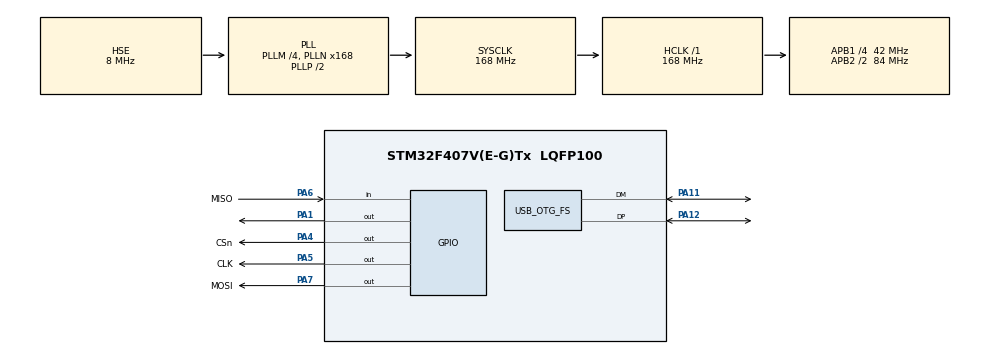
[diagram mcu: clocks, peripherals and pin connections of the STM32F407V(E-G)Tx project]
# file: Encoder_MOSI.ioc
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Mcu.Family=STM32F4
Mcu.Name=STM32F407V(E-G)Tx
Mcu.Package=LQFP100
NVIC.OTG_FS_IRQn=true\:0\:0\:false\:false\:true\:false\:true\:true
NVIC.PriorityGroup=NVIC_PRIORITYGROUP_4
PA1.Signal=GPIO_Output
PA11.Mode=Device_Only
PA11.Signal=USB_OTG_FS_DM
PA12.Mode=Device_Only
PA12.Signal=USB_OTG_FS_DP
PA13.Mode=Serial_Wire
PA13.Signal=SYS_JTMS-SWDIO
PA14.Mode=Serial_Wire
PA14.Signal=SYS_JTCK-SWCLK
PA4.GPIO_Label=CSn
PA4.Signal=GPIO_Output
PA5.GPIO_Label=CLK
PA5.Signal=GPIO_Output
PA6.GPIO_Label=MISO
PA6.Signal=GPIO_Input
PA7.GPIO_Label=MOSI
PA7.Signal=GPIO_Output
PH0-OSC_IN.Mode=HSE-External-Oscillator
PH0-OSC_IN.Signal=RCC_OSC_IN
PH1-OSC_OUT.Mode=HSE-External-Oscillator
PH1-OSC_OUT.Signal=RCC_OSC_OUT
ProjectManager.HeapSize=0x200
ProjectManager.StackSize=0x400
ProjectManager.TargetToolchain=STM32CubeIDE
RCC.48MHZClocksFreq_Value=48000000
RCC.AHBFreq_Value=168000000
RCC.APB1CLKDivider=RCC_HCLK_DIV4
RCC.APB1Freq_Value=42000000
RCC.APB1TimFreq_Value=84000000
RCC.APB2CLKDivider=RCC_HCLK_DIV2
RCC.APB2Freq_Value=84000000
RCC.APB2TimFreq_Value=168000000
RCC.CortexFreq_Value=168000000
RCC.HCLKFreq_Value=168000000
RCC.HSE_VALUE=8000000
RCC.HSI_VALUE=16000000
RCC.LSE_VALUE=32768
RCC.PLLM=4
RCC.PLLN=168
RCC.PLLQ=7
RCC.SYSCLKFreq_VALUE=168000000
RCC.SYSCLKSource=RCC_SYSCLKSOURCE_PLLCLK
RCC.VCOOutputFreq_Value=336000000
USB_DEVICE.CLASS_NAME_FS=CDC
USB_DEVICE.VirtualMode-CDC_FS=Cdc
USB_DEVICE.VirtualModeFS=Cdc_FS
USB_OTG_FS.VirtualMode=Device_Only
VP_USB_DEVICE_VS_USB_DEVICE_CDC_FS.Mode=CDC_FS
board=custom

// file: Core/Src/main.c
/* USER CODE BEGIN Header */
/**
 ******************************************************************************
 * @file           : main.c
 * @brief          : Main program body
 ******************************************************************************
 * @attention
 *
 * <h2><center>&copy; Copyright (c) 2022 STMicroelectronics.
 * All rights reserved.</center></h2>
 *
 * This software component is licensed by ST under BSD 3-Clause license,
 * the "License"; You may not use this file except in compliance with the
 * License. You may obtain a copy of the License at:
 *                        opensource.org/licenses/BSD-3-Clause
 *
 ******************************************************************************
 */
/* USER CODE END Header */
#include "main.h"
#include "usb_device.h"

/* USER CODE BEGIN Includes */
#include "usbd_cdc_if.h"
/* USER CODE END Includes */

/* USER CODE BEGIN PD */
#define SPI_RES 16
/* USER CODE END PD */

/* USER CODE BEGIN PV */
en_error_t error = OK;
/* USER CODE END PV */

void SystemClock_Config(void);
static void MX_GPIO_Init(void);

int main(void)
{
	/* USER CODE BEGIN 1 */

	uint32_t angle;
	/* USER CODE END 1 */

	/* MCU Configuration--------------------------------------------------------*/

	/* Reset of all peripherals, Initializes the Flash interface and the Systick. */
	HAL_Init();

	/* Configure the system clock */
	SystemClock_Config();

	/* Initialize all configured peripherals */
	MX_GPIO_Init();
	MX_USB_DEVICE_Init();

	/* Infinite loop */
	/* USER CODE BEGIN WHILE */
	while (1)
	{

		angle = get_angle();
		HAL_Delay(1);

#ifdef DEBUG_KWA
		printf("while cycle \r\n");
#endif

		switch (error)
		{
		case ERROR_FLAG_BIT:
		{
			uint32_t flag_response = 0;
			while (error == ERROR_FLAG_BIT)
			{
				HAL_GPIO_WritePin(CSn_GPIO_Port, CSn_Pin, GPIO_PIN_RESET); //ставим Ч�?П СЕЛЕКТ в низкий уровень (начинаем передачу)
				HAL_Delay(1); // tL-задержка, ставим 1 (мс) потому что можно только целое число

				//SPI_package(CLEAR_ERROR_FLAG, READ); //объявляем переменную result
				printf("  CLEAR FLAG COOMAND \r\n");
				flag_response = SPI_package(CLEAR_ERROR_FLAG, READ);
				//SPI_package(READ_ANGLE, READ); //объявляем переменную result

				HAL_Delay(1); // tH-задержка
				HAL_GPIO_WritePin(CSn_GPIO_Port, CSn_Pin, GPIO_PIN_SET); //ставим Ч�?П СЕЛЕКТ в высокий уровень (заканчиваем передачу)

				if (flag_response & ERROR_FLAG) // проверка на флаг - исправился или нет?
				{
					HAL_Delay(10);
				}
				else
				{
					error = OK;
				}

			}

			break;
		}
		case PAR_BIT:
		{
			printf("par bit\r\n");
			break;
		}
		default:
		{
			printf("ok\r\n");
			break;
		}
		}

		error = OK;
		//HAL_GPIO_TogglePin(GPIOA, GPIO_PIN_1); //для того, чтоб мигать светодиодом
		HAL_Delay(10); // задержка для светодиода

		/* USER CODE END WHILE */

	}
}

void SystemClock_Config(void)
{
	RCC_OscInitTypeDef RCC_OscInitStruct =
	{ 0 };
	RCC_ClkInitTypeDef RCC_ClkInitStruct =
	{ 0 };

	/** Configure the main internal regulator output voltage
	 */
	__HAL_RCC_PWR_CLK_ENABLE();
	__HAL_PWR_VOLTAGESCALING_CONFIG(PWR_REGULATOR_VOLTAGE_SCALE1);

	/** Initializes the RCC Oscillators according to the specified parameters
	 * in the RCC_OscInitTypeDef structure.
	 */
	RCC_OscInitStruct.OscillatorType = RCC_OSCILLATORTYPE_HSE;
	RCC_OscInitStruct.HSEState = RCC_HSE_ON;
	RCC_OscInitStruct.PLL.PLLState = RCC_PLL_ON;
	RCC_OscInitStruct.PLL.PLLSource = RCC_PLLSOURCE_HSE;
	RCC_OscInitStruct.PLL.PLLM = 4;
	RCC_OscInitStruct.PLL.PLLN = 168;
	RCC_OscInitStruct.PLL.PLLP = RCC_PLLP_DIV2;
	RCC_OscInitStruct.PLL.PLLQ = 7;
	if (HAL_RCC_OscConfig(&RCC_OscInitStruct) != HAL_OK)
	{
		Error_Handler();
	}

	/** Initializes the CPU, AHB and APB buses clocks
	 */
	RCC_ClkInitStruct.ClockType = RCC_CLOCKTYPE_HCLK | RCC_CLOCKTYPE_SYSCLK
			| RCC_CLOCKTYPE_PCLK1 | RCC_CLOCKTYPE_PCLK2;
	RCC_ClkInitStruct.SYSCLKSource = RCC_SYSCLKSOURCE_PLLCLK;
	RCC_ClkInitStruct.AHBCLKDivider = RCC_SYSCLK_DIV1;
	RCC_ClkInitStruct.APB1CLKDivider = RCC_HCLK_DIV4;
	RCC_ClkInitStruct.APB2CLKDivider = RCC_HCLK_DIV2;

	if (HAL_RCC_ClockConfig(&RCC_ClkInitStruct, FLASH_LATENCY_5) != HAL_OK)
	{
		Error_Handler();
	}
}

static void MX_GPIO_Init(void)
{
	GPIO_InitTypeDef GPIO_InitStruct =
	{ 0 };

	/* GPIO Ports Clock Enable */
	__HAL_RCC_GPIOH_CLK_ENABLE();
	__HAL_RCC_GPIOA_CLK_ENABLE();

	/*Configure GPIO pin Output Level */
	HAL_GPIO_WritePin(GPIOA, GPIO_PIN_1 | CSn_Pin | CLK_Pin | MOSI_Pin,
			GPIO_PIN_RESET);

	/*Configure GPIO pins : PA1 CSn_Pin CLK_Pin MOSI_Pin */
	GPIO_InitStruct.Pin = GPIO_PIN_1 | CSn_Pin | CLK_Pin | MOSI_Pin;
	GPIO_InitStruct.Mode = GPIO_MODE_OUTPUT_PP;
	GPIO_InitStruct.Pull = GPIO_NOPULL;
	GPIO_InitStruct.Speed = GPIO_SPEED_FREQ_LOW;
	HAL_GPIO_Init(GPIOA, &GPIO_InitStruct);

	/*Configure GPIO pin : MISO_Pin */
	GPIO_InitStruct.Pin = MISO_Pin;
	GPIO_InitStruct.Mode = GPIO_MODE_INPUT;
	GPIO_InitStruct.Pull = GPIO_NOPULL;
	HAL_GPIO_Init(MISO_GPIO_Port, &GPIO_InitStruct);

}

/* USER CODE BEGIN 4 */
uint8_t parity(uint32_t command)
{
	uint8_t bit_sum = 0;
	uint32_t command_temp = command;

#ifdef DEBUG_KWA
	printf("\r\ncommand = %li \r\n", command);
#endif

	for (uint8_t i = 0; i < SPI_RES; i++) //считаем сумму единиц в команде
	{
		bit_sum += command_temp & 1;
		command_temp = command_temp >> 1;
#ifdef DEBUG_KWA
		printf("i=%i command temp = %li bit_sum = %i \r\n", i, command_temp,
				bit_sum);
#endif

		HAL_Delay(1);
	}
#ifdef DEBUG_KWA
	printf("bit_sum_delit_na_2 = %i \r\n", bit_sum % 2);
#endif

	return bit_sum % 2;

}
/**
 * @brief  Функция для того, чтоб получать пакет данных с энкодера (16 бит) и посылать команды с контроллера;
 * SPI_package - название функции, а в скобках - что она принимает на вход, если ничего, то пишем void
 * @retval Возвращает пакет данных 16 бит
 */
uint32_t SPI_package(uint32_t command, en_MOSI_t RWn)
{
	uint32_t result = 0; //объявляем переменную result
	uint8_t result_bit = 0; //

	if (RWn == READ) // проверка на 14 бит
	{
		command |= READ_MOSI;
	} //выставляем 1 в 14-ый бит для чтения данных
	else
	{
		command |= WRITE_MOSI;
	}

	command |= (parity(command)) << 15; //выставляем 1 или 0 в 15-ый бит для PAR бита четности

	for (uint8_t i = 0; i < SPI_RES; i++) //счетчик битов/клоков
	{
		if (command & (1 << (SPI_RES - 1))) //умножаем на 100...00 в зависимости от размера SPI
		{
			HAL_GPIO_WritePin(MOSI_GPIO_Port, MOSI_Pin, GPIO_PIN_SET); //тут мы ставим 1, если разраяд команды равен 1
		}
		else
		{
			HAL_GPIO_WritePin(MOSI_GPIO_Port, MOSI_Pin, GPIO_PIN_RESET); //тут мы ставим 0, если разраяд команды равен 0
		}
		command = command << 1; //сдвигаем команду на 1, чтоб начать работу с новым разрядом

		HAL_GPIO_WritePin(CLK_GPIO_Port, CLK_Pin, GPIO_PIN_SET); //ставим клок
		HAL_Delay(1); //tcklH
		HAL_GPIO_WritePin(CLK_GPIO_Port, CLK_Pin, GPIO_PIN_RESET); //ставим клок
		result = result << 1; // сдвигаем число на 1 влево побитово
		result_bit = HAL_GPIO_ReadPin(MISO_GPIO_Port, MISO_Pin);
		result |= result_bit; // побитово складываем число (побитовое �?Л�?) со значением М�?СО
		HAL_Delay(1); //tcklL

		printf("%c  ", result_bit + 0x30); //для COM-порта

		//мы добавляем 0x30 в 16-тиричной системе, чтобы числовые значения корректно отображались на экране (ASCII-таблица)

	}

	return result; //функция коончилась - возвращаем переменную angle
}

/**
 * @brief  Функция для того, чтоб получать угол с энкодера; uint16_t - это тип числа и какого оно размера (16 бит);
 * angle - название функции, а в скобках - что она принимает на вход, если ничего, то пишем void
 * @retval Возвращает угол angle
 */
uint32_t get_angle(void)
{
	HAL_GPIO_WritePin(CSn_GPIO_Port, CSn_Pin, GPIO_PIN_RESET); //ставим Ч�?П СЕЛЕКТ в низкий уровень (начинаем передачу)
	HAL_Delay(1); // tL-задержка, ставим 1 (мс) потому что можно только целое число

	uint32_t result = SPI_package(READ_ANGLE, READ); //объявляем переменную result

	HAL_Delay(1); // tH-задержка
	HAL_GPIO_WritePin(CSn_GPIO_Port, CSn_Pin, GPIO_PIN_SET); //ставим Ч�?П СЕЛЕКТ в высокий уровень (заканчиваем передачу)

	if (parity(result)) //проверка пакета на четность
	{
		error = PAR_BIT;
		printf("ERROR: Parity bit\r\n");
		return 0;
	}

	if (result & ERROR_FLAG) //проверка пакета на флаг ошибки
	{
		error = ERROR_FLAG_BIT;
		printf("ERROR: Error flag bit\r\n");
		return 0;
	}

	result = result & ANGLE_MASK; // отбрасываем 14 и 15-ый биты
	printf("%f", result * 0.0219);

	printf("\r\n");
	return result;

}

int _write(int file, char *ptr, int len)
{
	CDC_Transmit_FS((uint8_t*) ptr, len);
	return len;
}

/* USER CODE END 4 */

void Error_Handler(void)
{
	__disable_irq();
	while (1)
	{
	}
}
